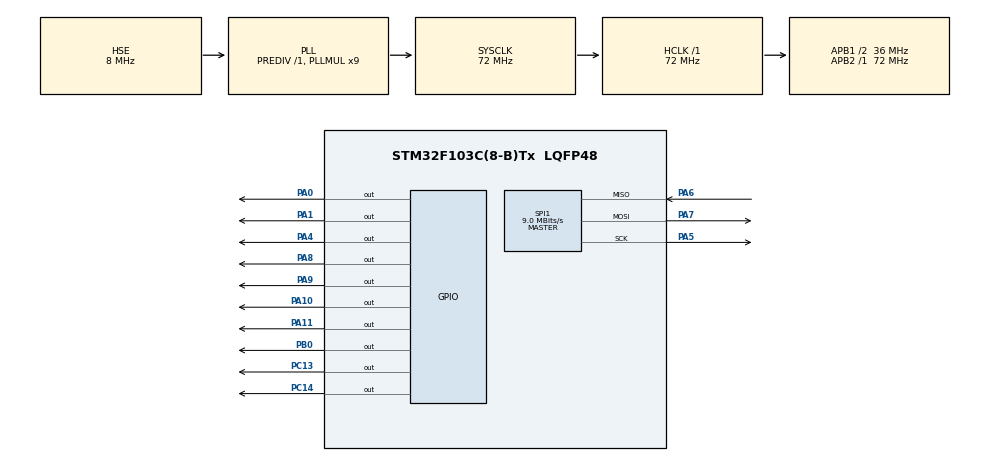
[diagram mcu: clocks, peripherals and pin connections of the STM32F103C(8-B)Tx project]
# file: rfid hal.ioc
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Mcu.Family=STM32F1
Mcu.Name=STM32F103C(8-B)Tx
Mcu.Package=LQFP48
NVIC.PriorityGroup=NVIC_PRIORITYGROUP_4
PA0-WKUP.Signal=GPIO_Output
PA1.Signal=GPIO_Output
PA10.Signal=GPIO_Output
PA11.Signal=GPIO_Output
PA13.Mode=Serial_Wire
PA13.Signal=SYS_JTMS-SWDIO
PA14.Mode=Serial_Wire
PA14.Signal=SYS_JTCK-SWCLK
PA4.Signal=GPIO_Output
PA5.Mode=Full_Duplex_Master
PA5.Signal=SPI1_SCK
PA6.Mode=Full_Duplex_Master
PA6.Signal=SPI1_MISO
PA7.Mode=Full_Duplex_Master
PA7.Signal=SPI1_MOSI
PA8.Signal=GPIO_Output
PA9.Signal=GPIO_Output
PB0.Signal=GPIO_Output
PC13-TAMPER-RTC.Signal=GPIO_Output
PC14-OSC32_IN.Signal=GPIO_Output
PD0-OSC_IN.Mode=HSE-External-Oscillator
PD0-OSC_IN.Signal=RCC_OSC_IN
PD1-OSC_OUT.Mode=HSE-External-Oscillator
PD1-OSC_OUT.Signal=RCC_OSC_OUT
ProjectManager.HeapSize=0x200
ProjectManager.StackSize=0x400
ProjectManager.TargetToolchain=STM32CubeIDE
RCC.AHBFreq_Value=72000000
RCC.APB1CLKDivider=RCC_HCLK_DIV2
RCC.APB1Freq_Value=36000000
RCC.APB1TimFreq_Value=72000000
RCC.APB2Freq_Value=72000000
RCC.APB2TimFreq_Value=72000000
RCC.HCLKFreq_Value=72000000
RCC.PLLMUL=RCC_PLL_MUL9
RCC.PLLSourceVirtual=RCC_PLLSOURCE_HSE
RCC.SYSCLKFreq_VALUE=72000000
RCC.SYSCLKSource=RCC_SYSCLKSOURCE_PLLCLK
RCC.USBFreq_Value=72000000
SPI1.BaudRatePrescaler=SPI_BAUDRATEPRESCALER_8
SPI1.CalculateBaudRate=9.0 MBits/s
SPI1.Direction=SPI_DIRECTION_2LINES
SPI1.Mode=SPI_MODE_MASTER
SPI1.VirtualType=VM_MASTER
board=custom

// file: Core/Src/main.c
/* USER CODE BEGIN Header */
/**
  ******************************************************************************
  * @file           : main.c
  * @brief          : Main program body
  ******************************************************************************
  * @attention
  *
  * Copyright (c) 2024 STMicroelectronics.
  * All rights reserved.
  *
  * This software is licensed under terms that can be found in the LICENSE file
  * in the root directory of this software component.
  * If no LICENSE file comes with this software, it is provided AS-IS.
  *
  ******************************************************************************
  */
/* USER CODE END Header */
#include "main.h"

/* USER CODE BEGIN Includes */
#include "rc522.h"
#include "string.h"
#include "lcd.h"
#include<stdio.h>
/* USER CODE END Includes */

/* USER CODE BEGIN PD */

#define MILK_PRICE 50
#define BISCUIT_PRICE 15

/* USER CODE END PD */

SPI_HandleTypeDef hspi1;

/* USER CODE BEGIN PV */
uint8_t status;
uint8_t str[MAX_LEN]; // Max_LEN = 16
uint8_t sNum[5];
uint8_t total_price = 0;
uint8_t milk_count = 0;
uint8_t biscuit_count = 0;
uint8_t display_total = 0;
/* USER CODE END PV */

void SystemClock_Config(void);
static void MX_GPIO_Init(void);
static void MX_SPI1_Init(void);

int main(void)
{

  /* USER CODE BEGIN 1 */

	 HAL_Init();
	  SystemClock_Config();
	  MX_GPIO_Init();
	  MX_SPI1_Init();
	  MFRC522_Init();
	  LCD_Init();

	  // Display the welcome message
	  LCD_Clear();
	  LCD_Set_Cursor(1, 1);
	  LCD_Print("Welcome to the");
	  LCD_Set_Cursor(2, 1);
	  LCD_Print("Supermarket");
	  HAL_Delay(3000);

	  LCD_Clear();
	  LCD_Set_Cursor(1, 1);
	  LCD_Print("Add your items");

  /* USER CODE END 1 */

  /* MCU Configuration--------------------------------------------------------*/

  /* Reset of all peripherals, Initializes the Flash interface and the Systick. */
  HAL_Init();

  /* Configure the system clock */
  SystemClock_Config();

  /* Initialize all configured peripherals */
  MX_GPIO_Init();
  MX_SPI1_Init();
  /* USER CODE BEGIN 2 */
  MFRC522_Init();

  /* USER CODE END 2 */

  /* Infinite loop */
  /* USER CODE BEGIN WHILE */
  while (1)
  {

	  status = MFRC522_Request(PICC_REQIDL, str);
	      status = MFRC522_Anticoll(str);

	      if (status == MI_OK) // Card detected
	      {
	        if ((str[0] == 0x24) && (str[1] == 0xFF) && (str[2] == 0xCC) && (str[3] == 0xDC) && (str[4] == 0xCB))
	        {
	          // Milk card detected
	          if (milk_count == 0) // Adding milk
	          {
	            milk_count++;
	            total_price += MILK_PRICE;
	            display_total = 1; // Set flag to display total

	            // Toggle LED for adding
	            HAL_GPIO_WritePin(GPIOC, GPIO_PIN_13, 1);
	            HAL_Delay(500);
	            HAL_GPIO_WritePin(GPIOC, GPIO_PIN_13, 0);
	            HAL_Delay(500);

	            // Display message
	            LCD_Clear();
	            LCD_Set_Cursor(1, 1);
	            LCD_Print("Milk added");
	            HAL_Delay(2000);
	          }
	          else // Removing milk
	          {
	            milk_count--;
	            total_price -= MILK_PRICE;

	            // Toggle second LED for removing
	            HAL_GPIO_WritePin(GPIOC, GPIO_PIN_14, 1);
	            HAL_Delay(500);
	            HAL_GPIO_WritePin(GPIOC, GPIO_PIN_14, 0);
	            HAL_Delay(500);

	            // Display message
	            LCD_Clear();
	            LCD_Set_Cursor(1, 1);
	            LCD_Print("Milk removed");
	            HAL_Delay(2000);
	          }
	        }
	        else if ((str[0] == 0x33) && (str[1] == 0x84) && (str[2] == 0xE1) && (str[3] == 0x26) && (str[4] == 0x70))
	        {
	          // Biscuit card detected
	          if (biscuit_count == 0) // Adding biscuit
	          {
	            biscuit_count++;
	            total_price += BISCUIT_PRICE;
	            display_total = 1; // Set flag to display total

	            // Toggle LED for adding
	            HAL_GPIO_WritePin(GPIOC, GPIO_PIN_13, 1);
	            HAL_Delay(500);
	            HAL_GPIO_WritePin(GPIOC, GPIO_PIN_13, 0);
	            HAL_Delay(500);

	            // Display message
	            LCD_Clear();
	            LCD_Set_Cursor(1, 1);
	            LCD_Print("Biscuit added");
	            HAL_Delay(2000);
	          }
	          else // Removing biscuit
	          {
	            biscuit_count--;
	            total_price -= BISCUIT_PRICE;

	            // Toggle second LED for removing
	            HAL_GPIO_WritePin(GPIOC, GPIO_PIN_14, 1);
	            HAL_Delay(500);
	            HAL_GPIO_WritePin(GPIOC, GPIO_PIN_14, 0);
	            HAL_Delay(500);

	            // Display message
	            LCD_Clear();
	            LCD_Set_Cursor(1, 1);
	            LCD_Print("Biscuit removed");
	            HAL_Delay(2000);
	          }
	        }
	      }

	      // Display total price continuously if the flag is set
	      if (display_total)
	      {
	        LCD_Clear();
	        LCD_Set_Cursor(1, 1);
	        LCD_Print("Total Amount:");
	        LCD_Set_Cursor(2, 1);
	        char buffer[16];
	        sprintf(buffer, "Rs %d", total_price);
	        LCD_Print(buffer);
	        HAL_Delay(1000);
	      }
	      else
	      {
	        // Reset to "Add your items" if no items are added
	        LCD_Clear();
	        LCD_Set_Cursor(1, 1);
	        LCD_Print("Add your items");
	        HAL_Delay(1000);
	      }
	    }

	    /* USER CODE END 3 */
}

void SystemClock_Config(void)
{
  RCC_OscInitTypeDef RCC_OscInitStruct = {0};
  RCC_ClkInitTypeDef RCC_ClkInitStruct = {0};

  /** Initializes the RCC Oscillators according to the specified parameters
  * in the RCC_OscInitTypeDef structure.
  */
  RCC_OscInitStruct.OscillatorType = RCC_OSCILLATORTYPE_HSE;
  RCC_OscInitStruct.HSEState = RCC_HSE_ON;
  RCC_OscInitStruct.HSEPredivValue = RCC_HSE_PREDIV_DIV1;
  RCC_OscInitStruct.HSIState = RCC_HSI_ON;
  RCC_OscInitStruct.PLL.PLLState = RCC_PLL_ON;
  RCC_OscInitStruct.PLL.PLLSource = RCC_PLLSOURCE_HSE;
  RCC_OscInitStruct.PLL.PLLMUL = RCC_PLL_MUL9;
  if (HAL_RCC_OscConfig(&RCC_OscInitStruct) != HAL_OK)
  {
    Error_Handler();
  }

  /** Initializes the CPU, AHB and APB buses clocks
  */
  RCC_ClkInitStruct.ClockType = RCC_CLOCKTYPE_HCLK|RCC_CLOCKTYPE_SYSCLK
                              |RCC_CLOCKTYPE_PCLK1|RCC_CLOCKTYPE_PCLK2;
  RCC_ClkInitStruct.SYSCLKSource = RCC_SYSCLKSOURCE_PLLCLK;
  RCC_ClkInitStruct.AHBCLKDivider = RCC_SYSCLK_DIV1;
  RCC_ClkInitStruct.APB1CLKDivider = RCC_HCLK_DIV2;
  RCC_ClkInitStruct.APB2CLKDivider = RCC_HCLK_DIV1;

  if (HAL_RCC_ClockConfig(&RCC_ClkInitStruct, FLASH_LATENCY_2) != HAL_OK)
  {
    Error_Handler();
  }
}

static void MX_SPI1_Init(void)
{

  /* SPI1 parameter configuration*/
  hspi1.Instance = SPI1;
  hspi1.Init.Mode = SPI_MODE_MASTER;
  hspi1.Init.Direction = SPI_DIRECTION_2LINES;
  hspi1.Init.DataSize = SPI_DATASIZE_8BIT;
  hspi1.Init.CLKPolarity = SPI_POLARITY_LOW;
  hspi1.Init.CLKPhase = SPI_PHASE_1EDGE;
  hspi1.Init.NSS = SPI_NSS_SOFT;
  hspi1.Init.BaudRatePrescaler = SPI_BAUDRATEPRESCALER_8;
  hspi1.Init.FirstBit = SPI_FIRSTBIT_MSB;
  hspi1.Init.TIMode = SPI_TIMODE_DISABLE;
  hspi1.Init.CRCCalculation = SPI_CRCCALCULATION_DISABLE;
  hspi1.Init.CRCPolynomial = 10;
  if (HAL_SPI_Init(&hspi1) != HAL_OK)
  {
    Error_Handler();
  }

}

static void MX_GPIO_Init(void)
{
  GPIO_InitTypeDef GPIO_InitStruct = {0};

  /* GPIO Ports Clock Enable */
  __HAL_RCC_GPIOC_CLK_ENABLE();
  __HAL_RCC_GPIOD_CLK_ENABLE();
  __HAL_RCC_GPIOA_CLK_ENABLE();
  __HAL_RCC_GPIOB_CLK_ENABLE();

  /*Configure GPIO pin Output Level */
  HAL_GPIO_WritePin(GPIOC, GPIO_PIN_13|GPIO_PIN_14, GPIO_PIN_RESET);

  /*Configure GPIO pin Output Level */
  HAL_GPIO_WritePin(GPIOA, GPIO_PIN_0|GPIO_PIN_1|GPIO_PIN_4|GPIO_PIN_8
                          |GPIO_PIN_9|GPIO_PIN_10|GPIO_PIN_11, GPIO_PIN_RESET);

  /*Configure GPIO pin Output Level */
  HAL_GPIO_WritePin(GPIOB, GPIO_PIN_0, GPIO_PIN_RESET);

  /*Configure GPIO pins : PC13 PC14 */
  GPIO_InitStruct.Pin = GPIO_PIN_13|GPIO_PIN_14;
  GPIO_InitStruct.Mode = GPIO_MODE_OUTPUT_PP;
  GPIO_InitStruct.Pull = GPIO_NOPULL;
  GPIO_InitStruct.Speed = GPIO_SPEED_FREQ_LOW;
  HAL_GPIO_Init(GPIOC, &GPIO_InitStruct);

  /*Configure GPIO pins : PA0 PA1 PA4 PA8
                           PA9 PA10 PA11 */
  GPIO_InitStruct.Pin = GPIO_PIN_0|GPIO_PIN_1|GPIO_PIN_4|GPIO_PIN_8
                          |GPIO_PIN_9|GPIO_PIN_10|GPIO_PIN_11;
  GPIO_InitStruct.Mode = GPIO_MODE_OUTPUT_PP;
  GPIO_InitStruct.Pull = GPIO_NOPULL;
  GPIO_InitStruct.Speed = GPIO_SPEED_FREQ_LOW;
  HAL_GPIO_Init(GPIOA, &GPIO_InitStruct);

  /*Configure GPIO pin : PB0 */
  GPIO_InitStruct.Pin = GPIO_PIN_0;
  GPIO_InitStruct.Mode = GPIO_MODE_OUTPUT_PP;
  GPIO_InitStruct.Pull = GPIO_NOPULL;
  GPIO_InitStruct.Speed = GPIO_SPEED_FREQ_LOW;
  HAL_GPIO_Init(GPIOB, &GPIO_InitStruct);

}

/* USER CODE BEGIN 4 */
/*
void LCD_Init(void)
{
    HAL_GPIO_WritePin(GPIOB, GPIO_PIN_0, 0); // RS = 0
    HAL_Delay(15);
    LCD_Command(0x02); // Initialize LCD in 4-bit mode
    LCD_Command(0x28); // 2-line display, 5x8 font
    LCD_Command(0x0C); // Display on, cursor off
    LCD_Command(0x06); // Auto increment cursor
    LCD_Command(0x01); // Clear display
    HAL_Delay(2);
}

void LCD_Command(uint8_t cmd)
{
    HAL_GPIO_WritePin(GPIOB, GPIO_PIN_0, 0); // RS = 0
    LCD_Write(cmd);
}

void LCD_Write(uint8_t data)
{
    HAL_GPIO_WritePin(GPIOA, GPIO_PIN_8, (data >> 4) & 0x1);
    HAL_GPIO_WritePin(GPIOA, GPIO_PIN_9, (data >> 5) & 0x1);
    HAL_GPIO_WritePin(GPIOA, GPIO_PIN_10, (data >> 6) & 0x1);
    HAL_GPIO_WritePin(GPIOA, GPIO_PIN_11, (data >> 7) & 0x1);
    // Trigger the Enable Pin
    HAL_GPIO_WritePin(GPIOB, GPIO_PIN_1, 1);
    HAL_Delay(1);
    HAL_GPIO_WritePin(GPIOB, GPIO_PIN_1, 0);

    HAL_GPIO_WritePin(GPIOA, GPIO_PIN_8, data & 0x1);
    HAL_GPIO_WritePin(GPIOA, GPIO_PIN_9, (data >> 1) & 0x1);
    HAL_GPIO_WritePin(GPIOA, GPIO_PIN_10, (data >> 2) & 0x1);
    HAL_GPIO_WritePin(GPIOA, GPIO_PIN_11, (data >> 3) & 0x1);
    // Trigger the Enable Pin
    HAL_GPIO_WritePin(GPIOB, GPIO_PIN_1, 1);
    HAL_Delay(1);
    HAL_GPIO_WritePin(GPIOB, GPIO_PIN_1, 0);
}

void LCD_Print(char *str)
{
    while (*str)
    {
        HAL_GPIO_WritePin(GPIOB, GPIO_PIN_0, 1); // RS = 1
        LCD_Write(*str++);
    }
}
*/

/* USER CODE END 4 */

void Error_Handler(void)
{
  __disable_irq();
  while (1)
  {
  }
}
